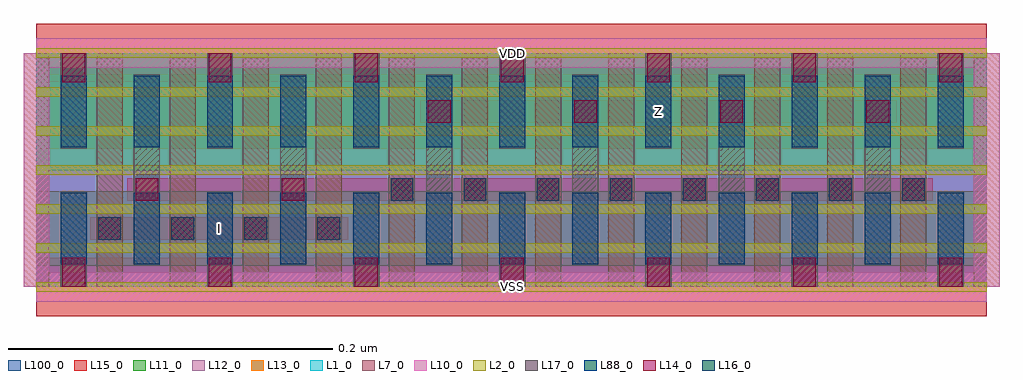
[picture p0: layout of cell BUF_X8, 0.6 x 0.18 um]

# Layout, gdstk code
import gdstk
lib = gdstk.Library(unit=1e-6, precision=1e-09)
def R(c, l, rs):  # rectangles x0, y0, x1, y1
    for r in rs: c.add(gdstk.rectangle(r[:2], r[2:], *l))
def A(c, l, x, y, w, h, nx, ny, dx, dy):  # array of equal rectangles
    R(c, l, [(x+i*dx, y+j*dy, x+i*dx+w, y+j*dy+h) for i in range(nx) for j in range(ny)])
def P(c, l, *ps):  # polygons
    for p in ps: c.add(gdstk.Polygon(p, *l))
L1_0 = (1, 0)
L2_0 = (2, 0)
L7_0 = (7, 0)
L10_0 = (10, 0)
L11_0 = (11, 0)
L12_0 = (12, 0)
L13_0 = (13, 0)
L14_0 = (14, 0)
L15_0 = (15, 0)
L16_0 = (16, 0)
L17_0 = (17, 0)
L88_0 = (88, 0)
L100_0 = (100, 0)

buf_x8 = lib.new_cell('BUF_X8')
R(buf_x8, L1_0, [(0,0.072,0.585,0.144)])
A(buf_x8, L2_0, 0, -0.003, 0.585, 0.006, 1, 7, 0, 0.024)
A(buf_x8, L7_0, -0.008, 0, 0.016, 0.144, 14, 1, 0.045, 0)
P(buf_x8, L10_0, [(0,-0.009),(0,0),(-0.008,0),(-0.008,0.135),(0.008,0.135),(0.008,0.009),(0.577,0.009),(0.577,0.135),(-0.008,0.135),(-0.008,0.144),(0,0.144),(0,0.153),(0.585,0.153),(0.585,0.144),(0.593,0.144),(0.593,0),(0.585,0),(0.585,-0.009)])
R(buf_x8, L11_0, [(0,0.013,0.585,0.059), (0,0.085,0.585,0.131)])
R(buf_x8, L12_0, [(0,0,0.585,0.072)])
R(buf_x8, L13_0, [(0,0.072,0.585,0.144)])
A(buf_x8, L14_0, 0.016, 0, 0.014, 0.018, 7, 2, 0.09, 0.126)
A(buf_x8, L14_0, 0.038, 0.029, 0.014, 0.014, 4, 1, 0.045, 0)
A(buf_x8, L14_0, 0.218, 0.053, 0.014, 0.014, 8, 1, 0.045, 0)
A(buf_x8, L14_0, 0.241, 0.101, 0.014, 0.014, 4, 1, 0.09, 0)
R(buf_x8, L14_0, [(0.061,0.053,0.075,0.067), (0.151,0.053,0.165,0.067)])
R(buf_x8, L15_0, [(0,-0.018,0.585,0.018), (0.033,0.029,0.192,0.043), (0.056,0.053,0.552,0.067), (0.236,0.101,0.53,0.115), (0,0.126,0.585,0.162)])
A(buf_x8, L16_0, 0.038, 0.029, 0.014, 0.014, 4, 1, 0.045, 0)
A(buf_x8, L16_0, 0.218, 0.053, 0.014, 0.014, 8, 1, 0.045, 0)
A(buf_x8, L17_0, 0.015, 0, 0.016, 0.059, 7, 2, 0.09, 0.085)
A(buf_x8, L17_0, 0.06, 0.013, 0.016, 0.118, 6, 1, 0.09, 0)
A(buf_x8, L88_0, 0.015, 0.014, 0.016, 0.044, 13, 2, 0.045, 0.072)
R(buf_x8, L100_0, [(0,0,0.585,0.144)])
buf_x8.add(gdstk.Label('I', (0.113,0.036), layer=15, texttype=251))
buf_x8.add(gdstk.Label('VSS', (0.293,0), layer=15, texttype=251))
buf_x8.add(gdstk.Label('VDD', (0.293,0.144), layer=15, texttype=251))
buf_x8.add(gdstk.Label('Z', (0.383,0.108), layer=15, texttype=251))
buf_x8.add(gdstk.Label('VSS', (0.293,0), layer=15, texttype=251))
buf_x8.add(gdstk.Label('VDD', (0.293,0.144), layer=15, texttype=251))
buf_x8.add(gdstk.Label('VSS', (0.293,0), layer=3, texttype=251))
buf_x8.add(gdstk.Label('VSS', (0.293,0), layer=3, texttype=251))
buf_x8.add(gdstk.Label('VDD', (0.293,0.144), layer=1, texttype=251))
buf_x8.add(gdstk.Label('VDD', (0.293,0.144), layer=1, texttype=251))

lib.write_gds('BUF_X8.gds')
